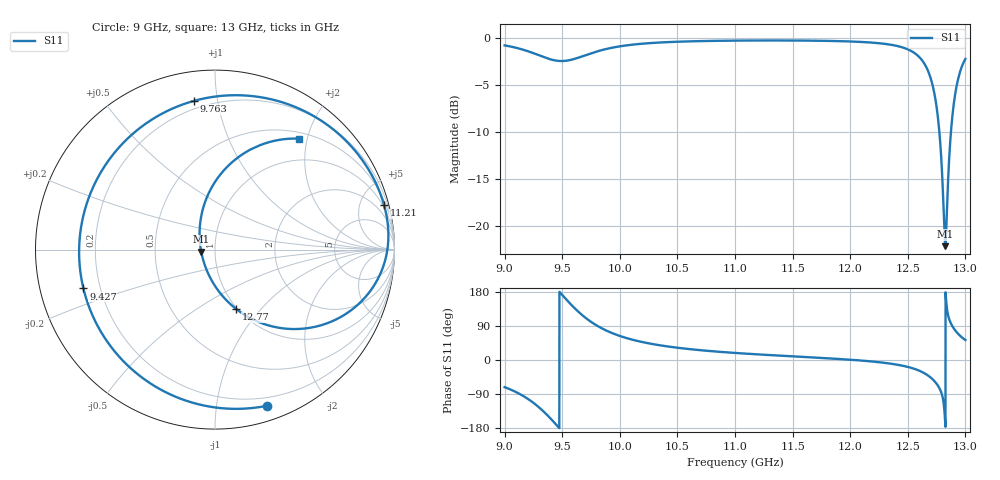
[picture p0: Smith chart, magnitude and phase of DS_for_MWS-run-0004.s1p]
! TOUCHSTONE file generated by CST DESIGN STUDIO
! Date and time: Tue Feb  4 17:26:07 2025
! Project name: C:\Work\MatlabApps\UnitCellOptimizationMatlab\CST\unitcell.cst
! Tree item: Tasks\Sweep1\SPara1\S-Parameters
! Header version: 2024
! Port assignment regex: !\s*Touchstone port\s*([0-9]+)\s*=\s*(CST MWS port|CST DES external port|CST DES block port)\s*(.+)\s* \(\"(.*)\"\)(\s*mode\s*([0-9]+))?.*
! Touchstone port assignment:
! Touchstone port 1 = CST DES external port 1 ("")
# GHz S MA R 50
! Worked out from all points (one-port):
!   4001 points, 9 GHz to 13 GHz, reference 50 ohm
!   lowest |S11| = -22.2 dB at 12.83 GHz (marker M1), VSWR 1.17, Z = 42.9 - j1.01 ohm
!   |S11| at or under -10 dB: 12.77 GHz to 12.87 GHz (100.5 MHz wide, 0.784 % of centre)
!   S11 on the Smith chart (normalised r, x): 9 GHz: 0.13, -1.38; 9.427 GHz: 0.14, -0.14; 9.763 GHz: 0.15, +0.86; 11.21 GHz: 0.80, +7.69; 12.77 GHz: 0.99, -0.75; 13 GHz: 0.60, +1.86
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9  0.917 -71.6
9.135  0.8787 -90.3
9.238  0.8384 -110.2
9.33  0.798 -133.5
9.427  0.7645 -163.6
9.5  0.7565 171.7
9.634  0.7861 129.1
9.763  0.8368 98.1
10  0.9062 63.5
10.216  0.9385 46.1
10.5  0.9591 32.4
11  0.9724 18.6
11.206  0.974 14.7
11.5  0.9736 9.6
12  0.9621 0.7
12.313  0.9321 -8.1
12.5  0.8735 -18.3
12.644  0.7323 -34.9
12.718  0.5527 -51.6
12.767  0.3514 -70.4
12.788  0.2428 -83.4
12.813  0.1112 -118.3
12.826  0.07766 -171.3
12.839  0.1164 137.6
12.872  0.3019 98.0
12.898  0.4408 83.9
12.944  0.6316 66.8
13  0.7761 52.8
